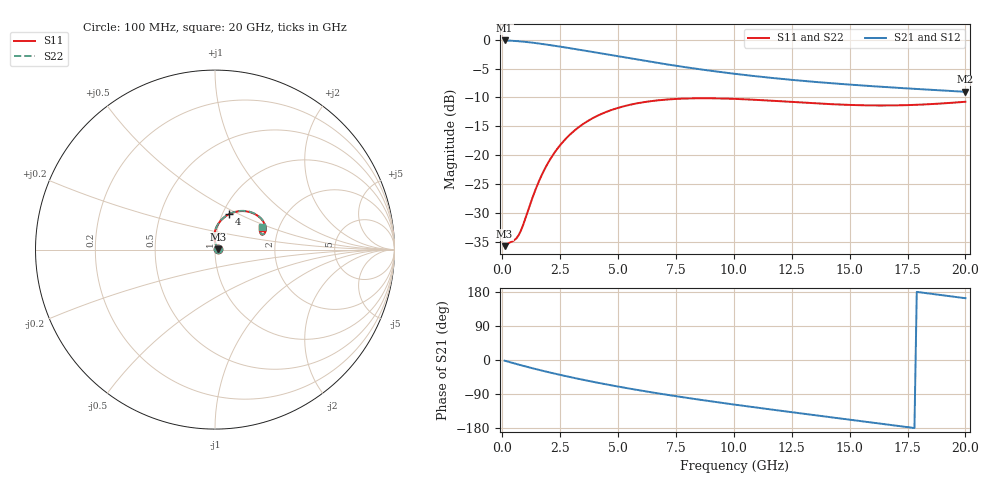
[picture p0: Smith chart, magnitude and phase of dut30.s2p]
! Touchstone file exported from HFSS 2023.1.0
!  File:  D:/Users/fzz/RDL_TSV/temp_RDL_TSV_30_1778744018.aedt
!  Generated:  3:42:23 %x4E0B%x5348  5%x6708 14, 2026
!  Design:  RDL_TSV
!  Project:  temp_RDL_TSV_30_1778744018
!  Setup:  Setup1
!  Solution:  Sweep
! Variables:
!  dtsv = 12.25um
!  hbump = 3um
!  htsv = 59.23um
!  ldown = 450.09um
!  lrdl = 392.31um
!  p = 40
!  p1 = 48.94um
!  rhole = 10um
!  subl = 2919.51um
!  t = 450um
!  tdown = 4.75um
!  trdl = 3.33um
!  viad = 10um
!  wdown = 10.96um
!  wrdl = 25.32um
!  xbump = 18um
# GHz S MA R 50.000000
! Terminal data exported
! Port[1] = TM1_1_T1
! Port[2] = TM1_4_T1
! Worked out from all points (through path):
!   200 points, 100 MHz to 20 GHz, reference 50 ohm
!   highest |S21| = -0.15 dB at 100 MHz (marker M1); lowest = -9.0 dB at 20 GHz (marker M2)
!   group delay of S21, straight-line fit = 25.6 ps
!   lowest |S11| = -35.7 dB at 100 MHz (marker M3), VSWR 1.03, Z = 51.6 + j0.271 ohm
!   |S11| at or under -10 dB: start of sweep to end of sweep
!   |S22| runs from -35.7 to -10.1 dB; largest |S21 - S12| = 1.4e-14
!   S11 on the Smith chart (normalised r, x): 100 MHz: 1.03, +0.01; 4 GHz: 1.08, +0.45; 20 GHz: 1.64, +0.43
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0.1  0.01633 9.2  0.9834 -1.8  0.9834 -1.8  0.01633 9.2
! Gamma 0 0 0 0
! Port Impedance 50 0 50 0
0.5  0.01829 39.2  0.975 -8.7  0.975 -8.7  0.01828 39.2
0.7  0.02023 56.8  0.9684 -12.0  0.9684 -12.0  0.02022 57.0
0.9  0.02492 73.1  0.9605 -15.3  0.9605 -15.3  0.02494 73.3
1.3  0.04264 90.1  0.9412 -21.7  0.9412 -21.7  0.04273 90.3
1.5  0.05431 92.7  0.9302 -24.8  0.9302 -24.8  0.05445 92.8
1.8  0.07374 93.0  0.9127 -29.3  0.9127 -29.3  0.07395 93.1
2.1  0.09437 91.0  0.8945 -33.7  0.8945 -33.7  0.09467 91.1
2.7  0.136 84.3  0.8569 -42.0  0.8569 -42.0  0.1364 84.4
3.1  0.1623 79.1  0.8317 -47.3  0.8317 -47.3  0.1629 79.3
3.5  0.1867 74.0  0.8066 -52.4  0.8066 -52.4  0.1874 74.2
4  0.2139 67.8  0.7759 -58.5  0.7759 -58.5  0.2147 68.0
5.2  0.2636 54.6  0.7059 -72.3  0.7059 -72.3  0.2646 54.7
6.8  0.2994 40.6  0.6246 -88.8  0.6246 -88.8  0.3007 40.8
8.4  0.3107 30.5  0.5587 -103.7  0.5587 -103.7  0.312 30.7
10.1  0.3067 23.2  0.5043 -118.3  0.5043 -118.3  0.3081 23.3
11.7  0.2956 19.0  0.4649 -131.4  0.4649 -131.4  0.2969 19.3
13.4  0.282 17.4  0.4324 -144.9  0.4324 -144.9  0.2832 17.6
15  0.2723 18.0  0.4082 -157.5  0.4082 -157.5  0.2735 18.2
16.7  0.2693 20.2  0.387 -170.9  0.387 -170.9  0.2706 20.5
18.3  0.2753 22.7  0.3699 176.5  0.3699 176.5  0.2766 23.0
20  0.29 24.6  0.3537 163.1  0.3537 163.1  0.2915 25.0
